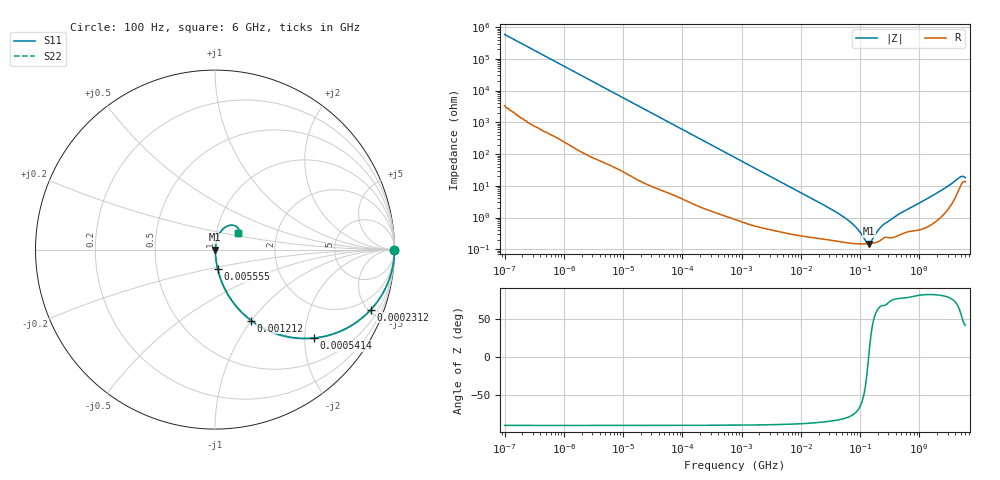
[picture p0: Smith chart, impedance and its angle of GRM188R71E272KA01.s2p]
!Murata Part Number: GRM188R71E272KA01
!These Parameters are Measured in Series Mode Connection
!Data Generated on Mar 30, 2021
!  o--ll--o
!Port1  Port2
!  o------o
!Operation Temp=25[degC], DC Bias Voltage=0[V]
!Freq. Start=100[Hz] Stop=6[GHz] 401[Steps]
# Hz S RI R 50
!Freq.(Hz) S11(Real) S11(Imag) S21(Real) S21(Imag) S12(Real) S12(Imag) S22(Real) S22(Imag)
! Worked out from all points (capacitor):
!   401 points, 100 Hz to 6 GHz, reference 50 ohm
!   read as one part in series: C = 2.71 nF near 109 Hz
!   lowest |Z| = 151 mohm at 139.6 MHz (marker M1)
!   series resonance near 139.4 MHz, so ESL is about 480 pH
!   S11 on the Smith chart (normalised r, x): 100 Hz: open; 231.2 kHz: 1.04, -5.18; 541.4 kHz: 1.02, -2.22; 1.212 MHz: 1.01, -1.00; 5.555 MHz: 1.01, -0.22; 6 GHz: 1.27, +0.24
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100  1 -0.000171  1e-06 0.000171  1e-06 0.000171  1 -0.000171
2008  1 -0.0034  2.48e-05 0.0034  2.48e-05 0.0034  1 -0.0034
40335  0.9951 -0.0674  0.00492 0.0674  0.00492 0.0674  0.9951 -0.0674
118133  0.9612 -0.1898  0.0388 0.1898  0.0388 0.1898  0.9612 -0.1898
231233  0.8685 -0.3343  0.1315 0.3343  0.1315 0.3343  0.8685 -0.3343
541393  0.5518 -0.4924  0.4482 0.4924  0.4482 0.4924  0.5518 -0.4924
774597  0.3783 -0.4794  0.6217 0.4794  0.6217 0.4794  0.3783 -0.4794
1212075  0.202 -0.3951  0.798 0.3951  0.798 0.3951  0.202 -0.3951
2268635  0.0704 -0.2472  0.9296 0.2472  0.9296 0.2472  0.0704 -0.2472
5554849  0.015 -0.1078  0.985 0.1078  0.985 0.1078  0.015 -0.1078
1.555665e7  0.00388 -0.039  0.9961 0.039  0.9961 0.039  0.00388 -0.039
6.233367e7  0.00166 -0.00821  0.9983 0.00821  0.9983 0.00821  0.00166 -0.00821
8.527865e7  0.00153 -0.00473  0.9985 0.00473  0.9985 0.00473  0.00153 -0.00473
1.275994e8  0.00149 -0.000827  0.9985 0.000827  0.9985 0.000827  0.00149 -0.000827
1.395531e8  0.00151 9.1e-06  0.9985 -9.1e-06  0.9985 -9.1e-06  0.00151 9.1e-06
1.526266e8  0.00153 0.000848  0.9985 -0.000848  0.9985 -0.000848  0.00153 0.000848
2.283698e8  0.002 0.00482  0.998 -0.00482  0.998 -0.00482  0.002 0.00482
3.124326e8  0.00236 0.00762  0.9976 -0.00762  0.9976 -0.00762  0.00236 0.00762
4.888888e8  0.00314 0.0136  0.9969 -0.0136  0.9969 -0.0136  0.00314 0.0136
2.450438e9  0.0165 0.0725  0.9835 -0.0725  0.9835 -0.0725  0.0165 0.0725
4.586474e9  0.086 0.136  0.914 -0.136  0.914 -0.136  0.086 0.136
6e9  0.1289 0.0938  0.8711 -0.0938  0.8711 -0.0938  0.1289 0.0938
